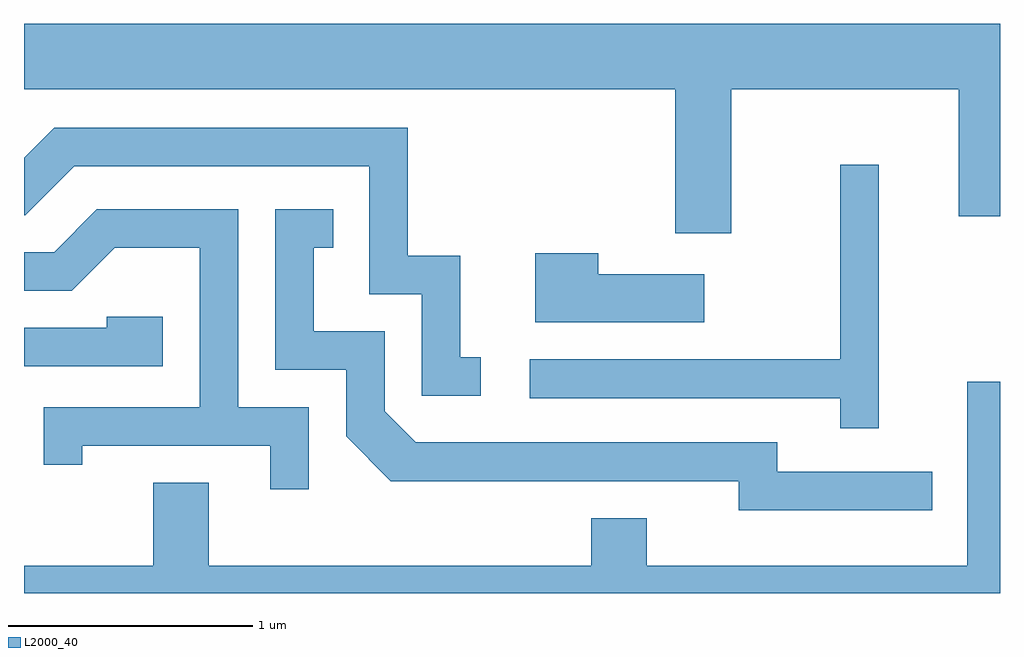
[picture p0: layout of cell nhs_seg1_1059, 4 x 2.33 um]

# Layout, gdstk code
import gdstk
lib = gdstk.Library(unit=1e-6, precision=1e-09)
def P(c, l, *ps):  # polygons
    for p in ps: c.add(gdstk.Polygon(p, *l))
L2000_40 = (2000, 40)

nhs_seg1_1059 = lib.new_cell('nhs_seg1_1059')
P(nhs_seg1_1059, L2000_40, [(220.509,921.776),(221.441,921.776),(221.441,921.256),(221.611,921.256),(221.611,922.044),(217.611,922.044),(217.611,921.776),(220.281,921.776),(220.281,921.186),(220.509,921.186)],
  [(219.483,920.679),(219.399,920.679),(219.399,921.094),(219.184,921.094),(219.184,921.619),(217.734,921.619),(217.611,921.496),(217.611,921.261),(217.617,921.261),(217.817,921.461),(219.026,921.461),(219.026,920.936),(219.241,920.936),(219.241,920.521),(219.483,920.521)],
  [(221.114,921.468),(220.956,921.468),(220.956,920.669),(219.683,920.669),(219.683,920.511),(220.956,920.511),(220.956,920.388),(221.114,920.388)],
  [(218.779,920.474),(218.489,920.474),(218.489,921.284),(217.909,921.284),(217.734,921.109),(217.611,921.109),(217.611,920.951),(217.807,920.951),(217.982,921.126),(218.331,921.126),(218.331,920.474),(217.691,920.474),(217.691,920.238),(217.849,920.238),(217.849,920.316),(218.621,920.316),(218.621,920.138),(218.779,920.138)],
  [(221.333,920.209),(220.699,920.209),(220.699,920.329),(219.217,920.329),(219.089,920.457),(219.089,920.784),(218.799,920.784),(218.799,921.126),(218.878,921.126),(218.878,921.284),(218.641,921.284),(218.641,920.626),(218.931,920.626),(218.931,920.354),(219.114,920.171),(220.541,920.171),(220.541,920.051),(221.333,920.051)],
  [(220.399,921.019),(219.964,921.019),(219.964,921.104),(219.706,921.104),(219.706,920.821),(220.399,920.821)],
  [(218.179,920.844),(217.951,920.844),(217.951,920.799),(217.611,920.799),(217.611,920.641),(218.179,920.641)],
  [(218.141,920.164),(218.141,919.824),(217.611,919.824),(217.611,919.712),(221.611,919.712),(221.611,920.578),(221.476,920.578),(221.476,919.824),(220.164,919.824),(220.164,920.019),(219.936,920.019),(219.936,919.824),(218.369,919.824),(218.369,920.164)])

lib.write_gds('nhs_seg1_1059.gds')
